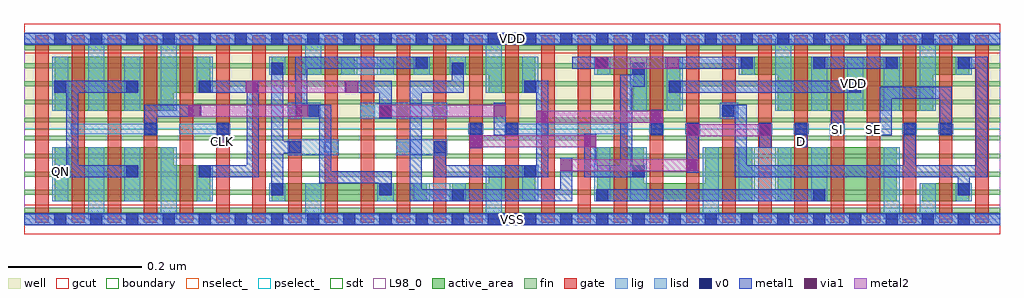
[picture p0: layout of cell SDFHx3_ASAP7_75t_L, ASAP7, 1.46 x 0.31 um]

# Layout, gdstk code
import gdstk
lib = gdstk.Library(unit=1e-6, precision=2.5e-10)
def R(c, l, rs):  # rectangles x0, y0, x1, y1
    for r in rs: c.add(gdstk.rectangle(r[:2], r[2:], *l))
def A(c, l, x, y, w, h, nx, ny, dx, dy):  # array of equal rectangles
    R(c, l, [(x+i*dx, y+j*dy, x+i*dx+w, y+j*dy+h) for i in range(nx) for j in range(ny)])
def P(c, l, *ps):  # polygons
    for p in ps: c.add(gdstk.Polygon(p, *l))
well = (1, 0)
fin = (2, 0)
gate = (7, 0)
gcut = (10, 0)
active_area = (11, 0)
nselect_ = (12, 0)
pselect_ = (13, 0)
lig = (16, 0)
lisd = (17, 0)
v0 = (18, 0)
metal1 = (19, 0)
metal2 = (20, 0)
via1 = (21, 0)
sdt = (88, 0)
L98_0 = (98, 0)
boundary = (100, 0)

sdfhx3_asap7_75t_l = lib.new_cell('SDFHx3_ASAP7_75t_L')
R(sdfhx3_asap7_75t_l, well, [(0,0.135,1.458,0.27)])
A(sdfhx3_asap7_75t_l, fin, 0, 0.01, 1.458, 0.007, 1, 10, 0, 0.027)
A(sdfhx3_asap7_75t_l, gate, 0.017, -0.005, 0.02, 0.28, 27, 1, 0.054, 0)
R(sdfhx3_asap7_75t_l, gcut, [(0,-0.022,1.458,0.022), (0,0.248,1.458,0.292)])
R(sdfhx3_asap7_75t_l, active_area, [(0.37,0.027,0.602,0.054), (1.126,0.027,1.304,0.108), (1.342,0.027,1.412,0.054), (0.37,0.216,0.494,0.243)])
P(sdfhx3_asap7_75t_l, active_area, [(0.764,0.081),(0.694,0.081),(0.694,0.054),(0.64,0.054),(0.64,0.027),(0.764,0.027)],
  [(0.046,0.027),(0.278,0.027),(0.278,0.081),(0.224,0.081),(0.224,0.108),(0.046,0.108)],
  [(0.926,0.108),(0.856,0.108),(0.856,0.027),(1.088,0.027),(1.088,0.108),(1.018,0.108),(1.018,0.054),(0.926,0.054)],
  [(0.532,0.216),(0.694,0.216),(0.694,0.189),(0.764,0.189),(0.764,0.243),(0.532,0.243)],
  [(0.856,0.216),(0.91,0.216),(0.91,0.162),(0.98,0.162),(0.98,0.243),(0.856,0.243)],
  [(1.072,0.216),(1.126,0.216),(1.126,0.162),(1.358,0.162),(1.358,0.216),(1.412,0.216),(1.412,0.243),(1.072,0.243)],
  [(0.046,0.162),(0.224,0.162),(0.224,0.189),(0.278,0.189),(0.278,0.243),(0.046,0.243)])
R(sdfhx3_asap7_75t_l, nselect_, [(0,0,1.458,0.135)])
R(sdfhx3_asap7_75t_l, pselect_, [(0,0.135,1.458,0.27)])
A(sdfhx3_asap7_75t_l, lig, 1.096, 0.127, 0.022, 0.016, 6, 1, 0.054, 0)
A(sdfhx3_asap7_75t_l, lig, 0.394, 0.154, 0.022, 0.016, 3, 1, 0.108, 0)
R(sdfhx3_asap7_75t_l, lig, [(0,-0.008,1.458,0.008), (0.448,0.1,0.47,0.116), (0.556,0.1,0.578,0.116), (0.07,0.127,0.2,0.143), (0.232,0.127,0.308,0.143), (0.664,0.127,0.686,0.143), (0.718,0.127,0.902,0.143), (0.934,0.127,0.956,0.143), (0.988,0.127,1.01,0.143), (1.042,0.154,1.064,0.17), (0,0.262,1.458,0.278)])
A(sdfhx3_asap7_75t_l, lisd, 1.176, 0.162, 0.024, 0.081, 3, 1, 0.054, 0)
A(sdfhx3_asap7_75t_l, lisd, 0.636, 0.216, 0.024, 0.027, 3, 1, 0.216, 0)
R(sdfhx3_asap7_75t_l, lisd, [(0.096,0,0.12,0.108), (0.204,0,0.228,0.108), (0.42,0,0.444,0.054), (0.69,0,0.714,0.081), (1.014,0,1.038,0.108), (1.284,0,1.308,0.108), (1.338,0,1.362,0.054), (0.042,0.027,0.066,0.108), (0.15,0.027,0.174,0.108), (0.258,0.027,0.282,0.081), (0.366,0.027,0.39,0.054), (0.528,0.027,0.552,0.054), (0.582,0.027,0.66,0.054), (0.744,0.027,0.768,0.081), (0.852,0.027,0.876,0.108), (0.906,0.027,0.93,0.108), (1.068,0.027,1.146,0.108), (1.176,0.027,1.2,0.108), (1.392,0.027,1.416,0.054), (0.394,0.096,0.47,0.12), (0.556,0.096,0.632,0.12), (0.394,0.15,0.443,0.174), (0.502,0.15,0.632,0.174), (1.039,0.15,1.067,0.174), (0.042,0.162,0.066,0.243), (0.096,0.162,0.12,0.27), (0.15,0.162,0.174,0.243), (0.204,0.162,0.228,0.27), (0.906,0.162,0.93,0.243), (0.96,0.162,0.984,0.243), (1.122,0.162,1.146,0.27), (1.338,0.162,1.362,0.27), (0.258,0.189,0.282,0.243), (0.69,0.189,0.714,0.27), (0.744,0.189,0.768,0.243), (0.366,0.216,0.39,0.243), (0.42,0.216,0.444,0.27), (0.474,0.216,0.552,0.243), (0.582,0.216,0.606,0.243), (1.392,0.216,1.416,0.243)])
A(sdfhx3_asap7_75t_l, v0, 0.045, -0.009, 0.018, 0.018, 26, 2, 0.054, 0.27)
A(sdfhx3_asap7_75t_l, v0, 0.045, 0.063, 0.018, 0.018, 3, 2, 0.108, 0.126)
A(sdfhx3_asap7_75t_l, v0, 1.098, 0.126, 0.018, 0.018, 6, 1, 0.054, 0)
A(sdfhx3_asap7_75t_l, v0, 0.369, 0.216, 0.018, 0.018, 3, 1, 0.27, 0)
A(sdfhx3_asap7_75t_l, v0, 1.071, 0.225, 0.018, 0.018, 4, 1, 0.108, 0)
R(sdfhx3_asap7_75t_l, v0, [(0.639,0.027,0.657,0.045), (0.855,0.027,0.873,0.045), (1.179,0.027,1.197,0.045), (0.369,0.036,0.387,0.054), (0.531,0.036,0.549,0.054), (1.395,0.036,1.413,0.054), (0.747,0.063,0.765,0.081), (0.909,0.063,0.927,0.081), (0.396,0.099,0.414,0.117), (0.612,0.099,0.63,0.117), (0.18,0.126,0.198,0.144), (0.288,0.126,0.306,0.144), (0.666,0.126,0.684,0.144), (0.72,0.126,0.738,0.144), (0.936,0.126,0.954,0.144), (0.99,0.126,1.008,0.144), (0.531,0.151,0.549,0.169), (0.423,0.153,0.441,0.171), (1.043,0.153,1.061,0.171), (0.747,0.189,0.765,0.207), (0.963,0.189,0.981,0.207), (1.233,0.189,1.251,0.207), (0.585,0.225,0.603,0.243), (0.855,0.225,0.873,0.243)])
R(sdfhx3_asap7_75t_l, metal1, [(0,-0.009,1.458,0.009), (0.855,0.027,1.197,0.045), (0.99,0.07,1.008,0.144), (0.666,0.106,0.684,0.144), (1.098,0.107,1.116,0.144), (0.288,0.108,0.306,0.144), (1.152,0.108,1.17,0.144), (0.936,0.126,0.954,0.164), (1.206,0.126,1.224,0.162), (0.963,0.189,1.251,0.207), (0.819,0.225,0.873,0.243), (0.958,0.225,1.089,0.243), (1.179,0.225,1.305,0.243), (0,0.261,1.458,0.279)])
P(sdfhx3_asap7_75t_l, metal1, [(0.198,0.153),(0.265,0.153),(0.265,0.171),(0.18,0.171),(0.18,0.126),(0.198,0.126)],
  [(0.738,0.144),(0.72,0.144),(0.72,0.174),(0.702,0.174),(0.702,0.126),(0.738,0.126)],
  [(1.296,0.18),(1.368,0.18),(1.368,0.126),(1.386,0.126),(1.386,0.198),(1.278,0.198),(1.278,0.144),(1.26,0.144),(1.26,0.126),(1.296,0.126)],
  [(0.171,0.081),(0.081,0.081),(0.081,0.189),(0.171,0.189),(0.171,0.207),(0.045,0.207),(0.045,0.189),(0.063,0.189),(0.063,0.081),(0.045,0.081),(0.045,0.063),(0.171,0.063)],
  [(0.351,0.207),(0.261,0.207),(0.261,0.189),(0.333,0.189),(0.333,0.081),(0.261,0.081),(0.261,0.063),(0.351,0.063)],
  [(0.549,0.207),(0.479,0.207),(0.479,0.189),(0.531,0.189),(0.531,0.151),(0.549,0.151)],
  [(0.783,0.207),(0.747,0.207),(0.747,0.189),(0.765,0.189),(0.765,0.081),(0.63,0.081),(0.63,0.117),(0.612,0.117),(0.612,0.063),(0.783,0.063)],
  [(0.927,0.081),(0.909,0.081),(0.909,0.198),(0.927,0.198),(0.927,0.234),(0.909,0.234),(0.909,0.216),(0.891,0.216),(0.891,0.081),(0.855,0.081),(0.855,0.128),(0.837,0.128),(0.837,0.063),(0.927,0.063)],
  [(0.387,0.099),(0.414,0.099),(0.414,0.117),(0.387,0.117),(0.387,0.234),(0.369,0.234),(0.369,0.036),(0.387,0.036)],
  [(0.549,0.072),(0.459,0.072),(0.459,0.171),(0.423,0.171),(0.423,0.225),(0.603,0.225),(0.603,0.243),(0.405,0.243),(0.405,0.153),(0.441,0.153),(0.441,0.054),(0.531,0.054),(0.531,0.036),(0.549,0.036)],
  [(1.395,0.243),(1.395,0.225),(1.422,0.225),(1.422,0.081),(1.332,0.081),(1.332,0.144),(1.314,0.144),(1.314,0.081),(1.08,0.081),(1.08,0.171),(1.043,0.171),(1.043,0.153),(1.062,0.153),(1.062,0.063),(1.395,0.063),(1.395,0.036),(1.413,0.036),(1.413,0.063),(1.44,0.063),(1.44,0.243)],
  [(0.819,0.092),(0.801,0.092),(0.801,0.045),(0.594,0.045),(0.594,0.189),(0.657,0.189),(0.657,0.234),(0.639,0.234),(0.639,0.207),(0.576,0.207),(0.576,0.027),(0.819,0.027)])
R(sdfhx3_asap7_75t_l, metal2, [(0.801,0.072,1.008,0.09), (0.666,0.108,0.855,0.126), (0.99,0.124,1.116,0.142), (0.765,0.144,0.954,0.162), (0.245,0.153,0.425,0.171), (0.531,0.153,0.72,0.171), (0.331,0.189,0.499,0.207), (0.853,0.225,0.978,0.243)])
R(sdfhx3_asap7_75t_l, via1, [(0.801,0.072,0.819,0.09), (0.99,0.072,1.008,0.09), (0.666,0.108,0.684,0.126), (0.837,0.108,0.855,0.126), (0.99,0.124,1.008,0.142), (1.098,0.124,1.116,0.142), (0.765,0.144,0.783,0.162), (0.936,0.144,0.954,0.162), (0.245,0.153,0.263,0.171), (0.407,0.153,0.425,0.171), (0.531,0.153,0.549,0.171), (0.702,0.153,0.72,0.171), (0.331,0.189,0.349,0.207), (0.481,0.189,0.499,0.207), (0.853,0.225,0.871,0.243), (0.96,0.225,0.978,0.243)])
A(sdfhx3_asap7_75t_l, sdt, 0.042, 0.027, 0.024, 0.081, 4, 2, 0.054, 0.135)
A(sdfhx3_asap7_75t_l, sdt, 0.528, 0.027, 0.024, 0.027, 3, 1, 0.054, 0)
A(sdfhx3_asap7_75t_l, sdt, 1.014, 0.027, 0.024, 0.081, 4, 1, 0.054, 0)
A(sdfhx3_asap7_75t_l, sdt, 1.122, 0.162, 0.024, 0.081, 5, 1, 0.054, 0)
A(sdfhx3_asap7_75t_l, sdt, 0.366, 0.216, 0.024, 0.027, 6, 1, 0.054, 0)
R(sdfhx3_asap7_75t_l, sdt, [(0.258,0.027,0.282,0.081), (0.366,0.027,0.39,0.054), (0.42,0.027,0.444,0.054), (0.69,0.027,0.714,0.081), (0.744,0.027,0.768,0.081), (0.852,0.027,0.876,0.108), (0.906,0.027,0.93,0.108), (1.284,0.027,1.308,0.108), (1.338,0.027,1.362,0.054), (1.392,0.027,1.416,0.054), (0.906,0.162,0.93,0.243), (0.96,0.162,0.984,0.243), (0.258,0.189,0.282,0.243), (0.69,0.189,0.714,0.243), (0.744,0.189,0.768,0.243), (0.852,0.216,0.876,0.243), (1.068,0.216,1.092,0.243), (1.392,0.216,1.416,0.243)])
R(sdfhx3_asap7_75t_l, L98_0, [(0,0,1.458,0.27)])
R(sdfhx3_asap7_75t_l, boundary, [(0,0,1.458,0.27)])
sdfhx3_asap7_75t_l.add(gdstk.Label('SI', (1.215,0.135), layer=19, texttype=251))
sdfhx3_asap7_75t_l.add(gdstk.Label('SE', (1.269,0.135), layer=19, texttype=251))
sdfhx3_asap7_75t_l.add(gdstk.Label('QN', (0.054,0.072), layer=19, texttype=251))
sdfhx3_asap7_75t_l.add(gdstk.Label('D', (1.161,0.117), layer=19, texttype=251))
sdfhx3_asap7_75t_l.add(gdstk.Label('CLK', (0.297,0.117), layer=19, texttype=251))
sdfhx3_asap7_75t_l.add(gdstk.Label('VSS', (0.729,0), layer=19, texttype=251))
sdfhx3_asap7_75t_l.add(gdstk.Label('VDD', (0.729,0.27), layer=19, texttype=251))
sdfhx3_asap7_75t_l.add(gdstk.Label('VDD', (1.2392,0.2025), layer=1, texttype=251))
sdfhx3_asap7_75t_l.add(gdstk.Label('VSS', (1.6767,0.2025), layer=3, texttype=251))

lib.write_gds('SDFHx3_ASAP7_75t_L.gds')
